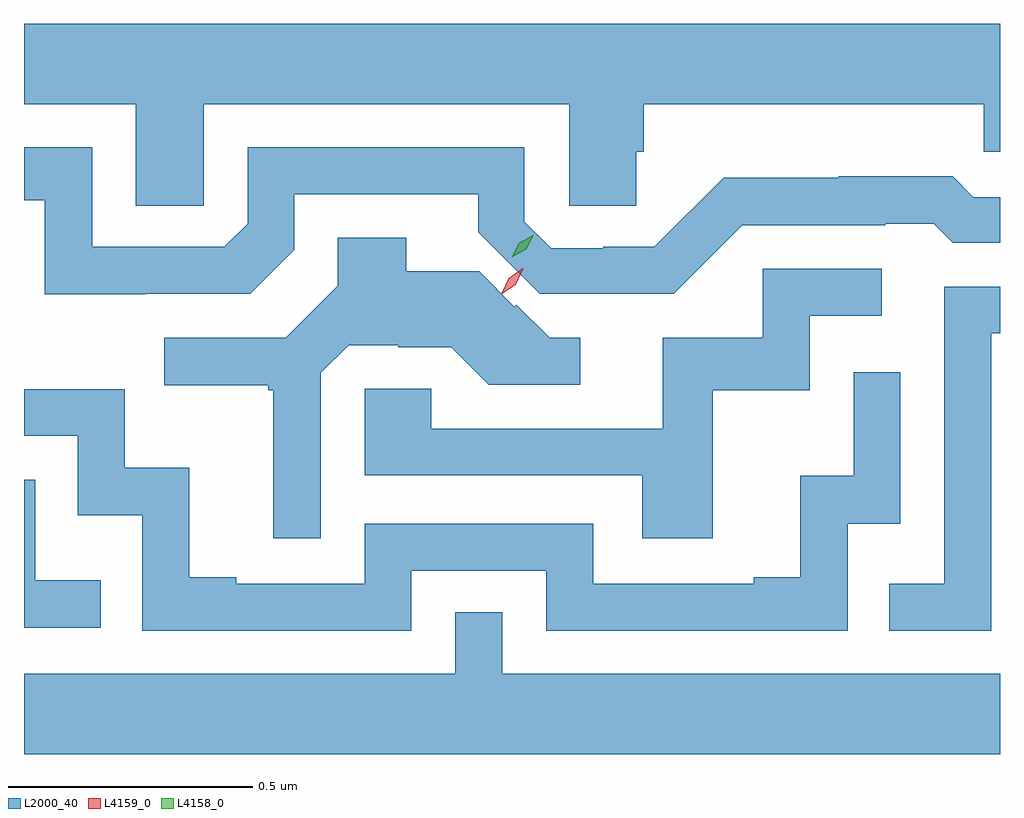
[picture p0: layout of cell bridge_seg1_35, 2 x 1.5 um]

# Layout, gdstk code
import gdstk
lib = gdstk.Library(unit=1e-6, precision=1e-09)
def P(c, l, *ps):  # polygons
    for p in ps: c.add(gdstk.Polygon(p, *l))
L2000_40 = (2000, 40)
L4158_0 = (4158, 0)
L4159_0 = (4159, 0)

bridge_seg1_35 = lib.new_cell('bridge_seg1_35')
P(bridge_seg1_35, L2000_40, [(1083.81,538.412),(1084.559,538.412),(1084.559,538.204),(1084.697,538.204),(1084.697,538.314),(1084.712,538.314),(1084.712,538.412),(1085.409,538.412),(1085.409,538.314),(1085.442,538.314),(1085.442,538.576),(1083.442,538.576),(1083.442,538.412),(1083.671,538.412),(1083.671,538.204),(1083.81,538.204)],
  [(1083.69,538.023),(1083.906,538.023),(1083.996,538.113),(1083.996,538.227),(1084.373,538.227),(1084.373,538.149),(1084.499,538.023),(1084.773,538.023),(1084.914,538.164),(1085.207,538.164),(1085.207,538.167),(1085.306,538.167),(1085.345,538.128),(1085.442,538.128),(1085.442,538.221),(1085.387,538.221),(1085.345,538.264),(1085.112,538.264),(1085.112,538.261),(1084.876,538.261),(1084.734,538.119),(1084.629,538.119),(1084.629,538.116),(1084.522,538.116),(1084.467,538.171),(1084.467,538.323),(1083.9,538.323),(1083.9,538.167),(1083.852,538.119),(1083.582,538.119),(1083.582,538.323),(1083.442,538.323),(1083.442,538.215),(1083.485,538.215),(1083.485,538.022),(1083.69,538.022)],
  [(1084.05,537.861),(1084.107,537.918),(1084.209,537.918),(1084.209,537.914),(1084.317,537.914),(1084.394,537.837),(1084.582,537.837),(1084.582,537.933),(1084.519,537.933),(1084.451,538.001),(1084.447,537.997),(1084.375,538.069),(1084.225,538.069),(1084.225,538.138),(1084.085,538.138),(1084.085,538.04),(1083.978,537.933),(1083.729,537.933),(1083.729,537.836),(1083.942,537.836),(1083.942,537.825),(1083.953,537.825),(1083.953,537.522),(1084.05,537.522)],
  [(1084.853,537.825),(1085.052,537.825),(1085.052,537.978),(1085.2,537.978),(1085.2,538.074),(1084.956,538.074),(1084.956,537.933),(1084.751,537.933),(1084.751,537.747),(1084.277,537.747),(1084.277,537.829),(1084.14,537.829),(1084.14,537.651),(1084.709,537.651),(1084.709,537.522),(1084.853,537.522)],
  [(1085.424,537.942),(1085.442,537.942),(1085.442,538.038),(1085.328,538.038),(1085.328,537.429),(1085.215,537.429),(1085.215,537.333),(1085.424,537.333)],
  [(1084.236,537.456),(1084.512,537.456),(1084.512,537.333),(1085.13,537.333),(1085.13,537.552),(1085.238,537.552),(1085.238,537.862),(1085.142,537.862),(1085.142,537.65),(1085.033,537.65),(1085.033,537.442),(1084.937,537.442),(1084.937,537.429),(1084.608,537.429),(1084.608,537.552),(1084.14,537.552),(1084.14,537.429),(1083.877,537.429),(1083.877,537.442),(1083.781,537.442),(1083.781,537.667),(1083.648,537.667),(1083.648,537.828),(1083.442,537.828),(1083.442,537.732),(1083.552,537.732),(1083.552,537.569),(1083.684,537.569),(1083.684,537.333),(1084.236,537.333)],
  [(1083.599,537.436),(1083.465,537.436),(1083.465,537.642),(1083.442,537.642),(1083.442,537.339),(1083.599,537.339)],
  [(1085.442,537.244),(1084.422,537.244),(1084.422,537.371),(1084.326,537.371),(1084.326,537.244),(1083.442,537.244),(1083.442,537.08),(1085.442,537.08)])
P(bridge_seg1_35, L4158_0, [(1084.441,538.098),(1084.441,538.098),(1084.457,538.128),(1084.487,538.144),(1084.487,538.144),(1084.487,538.144),(1084.471,538.114),(1084.441,538.098)])
P(bridge_seg1_35, L4159_0, [(1084.42,538.022),(1084.42,538.022),(1084.435,538.055),(1084.464,538.075),(1084.465,538.075),(1084.465,538.075),(1084.45,538.042),(1084.42,538.022)])

lib.write_gds('bridge_seg1_35.gds')
